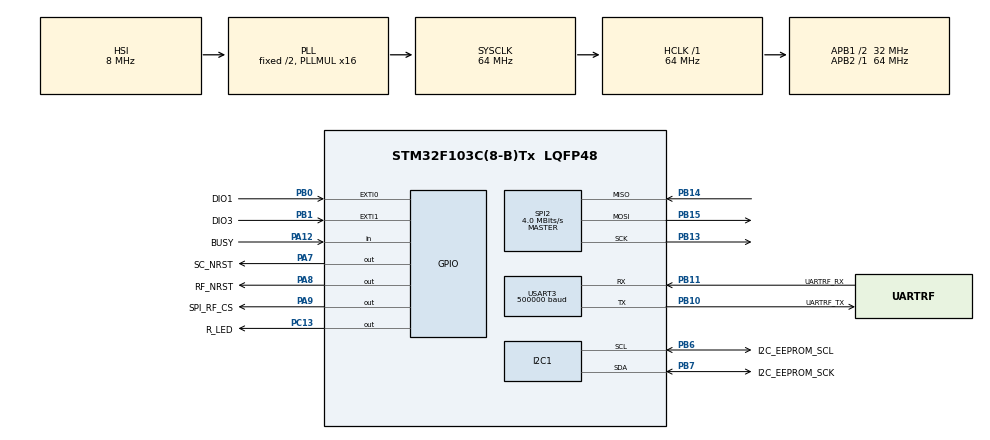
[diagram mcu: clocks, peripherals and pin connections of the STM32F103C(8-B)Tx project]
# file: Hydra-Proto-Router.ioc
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Dma.Request0=USART3_RX
Dma.Request1=USART3_TX
Dma.Request2=SPI2_TX
Dma.Request3=SPI2_RX
Dma.SPI2_RX.3.Direction=DMA_PERIPH_TO_MEMORY
Dma.SPI2_RX.3.Instance=DMA1_Channel4
Dma.SPI2_RX.3.MemDataAlignment=DMA_MDATAALIGN_BYTE
Dma.SPI2_RX.3.MemInc=DMA_MINC_ENABLE
Dma.SPI2_RX.3.Mode=DMA_NORMAL
Dma.SPI2_RX.3.PeriphDataAlignment=DMA_PDATAALIGN_BYTE
Dma.SPI2_RX.3.PeriphInc=DMA_PINC_DISABLE
Dma.SPI2_RX.3.Priority=DMA_PRIORITY_LOW
Dma.SPI2_TX.2.Direction=DMA_MEMORY_TO_PERIPH
Dma.SPI2_TX.2.Instance=DMA1_Channel5
Dma.SPI2_TX.2.MemDataAlignment=DMA_MDATAALIGN_BYTE
Dma.SPI2_TX.2.MemInc=DMA_MINC_ENABLE
Dma.SPI2_TX.2.Mode=DMA_NORMAL
Dma.SPI2_TX.2.PeriphDataAlignment=DMA_PDATAALIGN_BYTE
Dma.SPI2_TX.2.PeriphInc=DMA_PINC_DISABLE
Dma.SPI2_TX.2.Priority=DMA_PRIORITY_LOW
Dma.USART3_RX.0.Direction=DMA_PERIPH_TO_MEMORY
Dma.USART3_RX.0.Instance=DMA1_Channel3
Dma.USART3_RX.0.MemDataAlignment=DMA_MDATAALIGN_BYTE
Dma.USART3_RX.0.MemInc=DMA_MINC_ENABLE
Dma.USART3_RX.0.Mode=DMA_CIRCULAR
Dma.USART3_RX.0.PeriphDataAlignment=DMA_PDATAALIGN_BYTE
Dma.USART3_RX.0.PeriphInc=DMA_PINC_DISABLE
Dma.USART3_RX.0.Priority=DMA_PRIORITY_LOW
Dma.USART3_TX.1.Direction=DMA_MEMORY_TO_PERIPH
Dma.USART3_TX.1.Instance=DMA1_Channel2
Dma.USART3_TX.1.MemDataAlignment=DMA_MDATAALIGN_BYTE
Dma.USART3_TX.1.MemInc=DMA_MINC_ENABLE
Dma.USART3_TX.1.Mode=DMA_NORMAL
Dma.USART3_TX.1.PeriphDataAlignment=DMA_PDATAALIGN_BYTE
Dma.USART3_TX.1.PeriphInc=DMA_PINC_DISABLE
Dma.USART3_TX.1.Priority=DMA_PRIORITY_LOW
Mcu.Family=STM32F1
Mcu.Name=STM32F103C(8-B)Tx
Mcu.Package=LQFP48
NVIC.DMA1_Channel2_IRQn=true\:0\:0\:false\:false\:true\:false\:true\:true
NVIC.DMA1_Channel3_IRQn=true\:0\:0\:false\:false\:true\:false\:true\:true
NVIC.DMA1_Channel4_IRQn=true\:0\:0\:false\:false\:true\:false\:true\:true
NVIC.DMA1_Channel5_IRQn=true\:0\:0\:false\:false\:true\:false\:true\:true
NVIC.EXTI0_IRQn=true\:0\:0\:false\:false\:true\:true\:true\:true
NVIC.PriorityGroup=NVIC_PRIORITYGROUP_4
NVIC.USART3_IRQn=true\:1\:0\:true\:false\:true\:true\:true\:true
PA12.GPIO_Label=BUSY
PA12.Signal=GPIO_Input
PA13.Mode=Serial_Wire
PA13.Signal=SYS_JTMS-SWDIO
PA14.Mode=Serial_Wire
PA14.Signal=SYS_JTCK-SWCLK
PA7.GPIO_Label=SC_NRST
PA7.Signal=GPIO_Output
PA8.GPIO_Label=RF_NRST
PA8.GPIO_PuPd=GPIO_PULLUP
PA8.Signal=GPIO_Output
PA9.GPIO_Label=SPI_RF_CS
PA9.GPIO_PuPd=GPIO_PULLUP
PA9.Signal=GPIO_Output
PB0.GPIO_Label=DIO1
PB0.GPIO_PuPd=GPIO_PULLDOWN
PB0.Signal=GPXTI0
PB1.GPIO_Label=DIO3
PB1.GPIO_PuPd=GPIO_PULLDOWN
PB1.Signal=GPXTI1
PB10.GPIO_Label=UARTRF_TX
PB10.Mode=Asynchronous
PB10.Signal=USART3_TX
PB11.GPIO_Label=UARTRF_RX
PB11.Mode=Asynchronous
PB11.Signal=USART3_RX
PB13.Mode=Full_Duplex_Master
PB13.Signal=SPI2_SCK
PB14.GPIO_PuPd=GPIO_PULLDOWN
PB14.Mode=Full_Duplex_Master
PB14.Signal=SPI2_MISO
PB15.Mode=Full_Duplex_Master
PB15.Signal=SPI2_MOSI
PB6.GPIO_Label=I2C_EEPROM_SCL
PB6.Mode=I2C
PB6.Signal=I2C1_SCL
PB7.GPIO_Label=I2C_EEPROM_SCK
PB7.Mode=I2C
PB7.Signal=I2C1_SDA
PC13-TAMPER-RTC.GPIO_Label=R_LED
PC13-TAMPER-RTC.Signal=GPIO_Output
ProjectManager.HeapSize=0x200
ProjectManager.StackSize=0x400
ProjectManager.TargetToolchain=STM32CubeIDE
RCC.AHBFreq_Value=64000000
RCC.APB1CLKDivider=RCC_HCLK_DIV2
RCC.APB1Freq_Value=32000000
RCC.APB1TimFreq_Value=64000000
RCC.APB2Freq_Value=64000000
RCC.APB2TimFreq_Value=64000000
RCC.HCLKFreq_Value=64000000
RCC.PLLMUL=RCC_PLL_MUL16
RCC.SYSCLKFreq_VALUE=64000000
RCC.SYSCLKSource=RCC_SYSCLKSOURCE_PLLCLK
RCC.USBFreq_Value=64000000
SPI2.BaudRatePrescaler=SPI_BAUDRATEPRESCALER_8
SPI2.CLKPhase=SPI_PHASE_1EDGE
SPI2.CalculateBaudRate=4.0 MBits/s
SPI2.Direction=SPI_DIRECTION_2LINES
SPI2.Mode=SPI_MODE_MASTER
SPI2.VirtualType=VM_MASTER
TIM2.Prescaler=63
TIM2.TIM_MasterOutputTrigger=TIM_TRGO_UPDATE
USART3.BaudRate=500000
USART3.VirtualMode=VM_ASYNC
VP_TIM2_VS_ClockSourceINT.Mode=Internal
VP_TIM3_VS_ClockSourceITR.Mode=TriggerSource_ITR1
VP_TIM3_VS_ControllerModeClock.Mode=Clock Mode
board=custom

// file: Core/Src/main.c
/* USER CODE BEGIN Header */
/**
  ******************************************************************************
  * @file           : main.c
  * @brief          : Main program body
  ******************************************************************************
  * @attention
  *
  * Copyright (c) 2026 STMicroelectronics.
  * All rights reserved.
  *
  * This software is licensed under terms that can be found in the LICENSE file
  * in the root directory of this software component.
  * If no LICENSE file comes with this software, it is provided AS-IS.
  *
  ******************************************************************************
  */
/* USER CODE END Header */
#include "main.h"

/* USER CODE BEGIN Includes */
#include "uart_wrapper_stream.h"
#include "sx1268-driver.h"
/* USER CODE END Includes */

/* USER CODE BEGIN PD */

#define PCKT_SIZE_U32 1
#define PCKT_COUNT 1024
#define U32_SIZE 4

/* USER CODE END PD */

I2C_HandleTypeDef hi2c1;

SPI_HandleTypeDef hspi2;
DMA_HandleTypeDef hdma_spi2_tx;
DMA_HandleTypeDef hdma_spi2_rx;

TIM_HandleTypeDef htim2;
TIM_HandleTypeDef htim3;

UART_HandleTypeDef huart3;
DMA_HandleTypeDef hdma_usart3_rx;
DMA_HandleTypeDef hdma_usart3_tx;

/* USER CODE BEGIN PV */
wUART wuart3;
SX1268 radio;
/* USER CODE END PV */

void SystemClock_Config(void);
static void MX_GPIO_Init(void);
static void MX_DMA_Init(void);
static void MX_I2C1_Init(void);
static void MX_USART3_UART_Init(void);
static void MX_SPI2_Init(void);
static void MX_TIM2_Init(void);
static void MX_TIM3_Init(void);
/* USER CODE BEGIN PFP */

uint32_t Get_us_Tickval(void)
{
    uint16_t high1, high2, low;

    do {
        high1 = htim3.Instance->CNT;
        low   = htim2.Instance->CNT;
        high2 = htim3.Instance->CNT;
    } while (high1 != high2);

    return ((uint32_t)high1 << 16) | low;
}

/* USER CODE END PFP */

int main(void)
{

  /* MCU Configuration--------------------------------------------------------*/

  /* Reset of all peripherals, Initializes the Flash interface and the Systick. */
  HAL_Init();

  /* Configure the system clock */
  SystemClock_Config();

  /* Initialize all configured peripherals */
  MX_GPIO_Init();
  MX_DMA_Init();
  MX_I2C1_Init();
  MX_USART3_UART_Init();
  MX_SPI2_Init();
  MX_TIM2_Init();
  MX_TIM3_Init();
  /* USER CODE BEGIN 2 */

  GPIO_t cs_gpio = {
      ._pin = GPIO_PIN_9,
      ._port = GPIOA
  };

  GPIO_t bind_gpio = {
      ._pin = GPIO_PIN_12,
      ._port = GPIOA
  };

  GPIO_t res_gpio = {
      ._pin = GPIO_PIN_8,
      ._port = GPIOA
  };

  GPIO_t dio1_gpio = {
      ._pin = GPIO_PIN_0,
      ._port = GPIOB
  };

  wUART_Init(&wuart3, &huart3);

  SX68_Init(&radio, &hspi2, cs_gpio, res_gpio, bind_gpio);

  SX68_SetStandby(&radio, MODE_STDBY_RC);

  SX68_SetDIO2RFSwitch(&radio, 1);
  SX68_SetIRQMask(&radio, 0x0201, 0x0000, 0x0000);
  SX68_SetDIOxGPIO(&radio, DIO1, dio1_gpio);

  SX68_SetOPType(&radio, TYPE_LoRa);
  SX68_ConfigRF(&radio, 433000000, PA_DC_4, PA_HPmax_6);
  SX68_LoRa_ModConfig(&radio, LoRa_SF7, LoRa_BW_250, LoRa_CR_4_5);
  SX68_SetBufferBase(&radio, 0, 0);
  SX68_LoRa_Params(&radio, 8, LoRa_VariableLenHeader, LoRa_CRC_OFF, LoRa_IQ_Standard);
  SX68_SetTXParameters(&radio, -9, RAMP_200U);

  SX68_ClearIRQStatus(&radio);

  wUART_OpenRXDMA(&wuart3);

  uint8_t num_buf[PCKT_SIZE_U32 * U32_SIZE];
  uint32_t num = 0;
  uint32_t num_rec;
  uint32_t errs = 0;
  static uint32_t trans_timestamp[PCKT_COUNT];
  static uint32_t err_timestamp[PCKT_COUNT];
  uint32_t in_trans = 0;
  uint32_t in_err = 0;

  memset(trans_timestamp, 0, PCKT_COUNT * U32_SIZE);
  memset(err_timestamp, 0, PCKT_COUNT * U32_SIZE);

  HAL_TIM_Base_Start(&htim3);
  HAL_TIM_Base_Start(&htim2);

  /* USER CODE END 2 */

  /* Infinite loop */
  /* USER CODE BEGIN WHILE */
  while (1)
  {
      while(FIFO_GetCount(&wuart3._rx_fifo) < (PCKT_SIZE_U32 * U32_SIZE))
	{
	  __NOP();
	}

      HAL_GPIO_TogglePin(R_LED_GPIO_Port, R_LED_Pin);

      uint32_t us_tick = Get_us_Tickval();

      wUART_ReadRXFIFO(&wuart3, num_buf, PCKT_SIZE_U32 * U32_SIZE);

      memcpy(&num_rec, num_buf, U32_SIZE);

      if(num_rec == 0xFFFFFFFF) break;

      SX68_WriteTXPacket(&radio, num_buf, PCKT_SIZE_U32 * U32_SIZE);

      SX68_LoRa_PayloadLength(&radio, PCKT_SIZE_U32 * U32_SIZE);

      SX68_Transmit(&radio, 0);

      while(SX68_GetDIOStatus(&radio, DIO1) != 1)
	{
	  __NOP();
	}

      SX68_ClearDIOStatus(&radio, DIO1);
      SX68_ClearIRQStatus(&radio);

      if(num_rec != num)
	{
	  errs += (num_rec - num);
	  err_timestamp[in_err] = us_tick;
	  in_err++;
	}

      num = num_rec + 1;
      trans_timestamp[in_trans] = us_tick;
      in_trans++;

      if(in_trans == PCKT_COUNT) break;

    /* USER CODE END WHILE */

    /* USER CODE BEGIN 3 */
  }

  wUART_WriteTX(&wuart3, (uint8_t*)&errs, U32_SIZE);

  for(int i = 0; i < (PCKT_COUNT * U32_SIZE) / 256; i++)
    {
      wUART_WriteTX(&wuart3, (uint8_t*)trans_timestamp + i*256, 256);
      HAL_Delay(250);
    }

  for(int i = 0; i < (PCKT_COUNT * U32_SIZE) / 256; i++)
    {
      wUART_WriteTX(&wuart3, (uint8_t*)err_timestamp + i*256, 256);
      HAL_Delay(250);
    }
  /* USER CODE END 3 */
}

void SystemClock_Config(void)
{
  RCC_OscInitTypeDef RCC_OscInitStruct = {0};
  RCC_ClkInitTypeDef RCC_ClkInitStruct = {0};

  /** Initializes the RCC Oscillators according to the specified parameters
  * in the RCC_OscInitTypeDef structure.
  */
  RCC_OscInitStruct.OscillatorType = RCC_OSCILLATORTYPE_HSI;
  RCC_OscInitStruct.HSIState = RCC_HSI_ON;
  RCC_OscInitStruct.HSICalibrationValue = RCC_HSICALIBRATION_DEFAULT;
  RCC_OscInitStruct.PLL.PLLState = RCC_PLL_ON;
  RCC_OscInitStruct.PLL.PLLSource = RCC_PLLSOURCE_HSI_DIV2;
  RCC_OscInitStruct.PLL.PLLMUL = RCC_PLL_MUL16;
  if (HAL_RCC_OscConfig(&RCC_OscInitStruct) != HAL_OK)
  {
    Error_Handler();
  }

  /** Initializes the CPU, AHB and APB buses clocks
  */
  RCC_ClkInitStruct.ClockType = RCC_CLOCKTYPE_HCLK|RCC_CLOCKTYPE_SYSCLK
                              |RCC_CLOCKTYPE_PCLK1|RCC_CLOCKTYPE_PCLK2;
  RCC_ClkInitStruct.SYSCLKSource = RCC_SYSCLKSOURCE_PLLCLK;
  RCC_ClkInitStruct.AHBCLKDivider = RCC_SYSCLK_DIV1;
  RCC_ClkInitStruct.APB1CLKDivider = RCC_HCLK_DIV2;
  RCC_ClkInitStruct.APB2CLKDivider = RCC_HCLK_DIV1;

  if (HAL_RCC_ClockConfig(&RCC_ClkInitStruct, FLASH_LATENCY_2) != HAL_OK)
  {
    Error_Handler();
  }
}

static void MX_I2C1_Init(void)
{

  hi2c1.Instance = I2C1;
  hi2c1.Init.ClockSpeed = 100000;
  hi2c1.Init.DutyCycle = I2C_DUTYCYCLE_2;
  hi2c1.Init.OwnAddress1 = 0;
  hi2c1.Init.AddressingMode = I2C_ADDRESSINGMODE_7BIT;
  hi2c1.Init.DualAddressMode = I2C_DUALADDRESS_DISABLE;
  hi2c1.Init.OwnAddress2 = 0;
  hi2c1.Init.GeneralCallMode = I2C_GENERALCALL_DISABLE;
  hi2c1.Init.NoStretchMode = I2C_NOSTRETCH_DISABLE;
  if (HAL_I2C_Init(&hi2c1) != HAL_OK)
  {
    Error_Handler();
  }

}

static void MX_SPI2_Init(void)
{

  /* SPI2 parameter configuration*/
  hspi2.Instance = SPI2;
  hspi2.Init.Mode = SPI_MODE_MASTER;
  hspi2.Init.Direction = SPI_DIRECTION_2LINES;
  hspi2.Init.DataSize = SPI_DATASIZE_8BIT;
  hspi2.Init.CLKPolarity = SPI_POLARITY_LOW;
  hspi2.Init.CLKPhase = SPI_PHASE_1EDGE;
  hspi2.Init.NSS = SPI_NSS_SOFT;
  hspi2.Init.BaudRatePrescaler = SPI_BAUDRATEPRESCALER_8;
  hspi2.Init.FirstBit = SPI_FIRSTBIT_MSB;
  hspi2.Init.TIMode = SPI_TIMODE_DISABLE;
  hspi2.Init.CRCCalculation = SPI_CRCCALCULATION_DISABLE;
  hspi2.Init.CRCPolynomial = 10;
  if (HAL_SPI_Init(&hspi2) != HAL_OK)
  {
    Error_Handler();
  }

}

static void MX_TIM2_Init(void)
{

  TIM_ClockConfigTypeDef sClockSourceConfig = {0};
  TIM_MasterConfigTypeDef sMasterConfig = {0};

  htim2.Instance = TIM2;
  htim2.Init.Prescaler = 63;
  htim2.Init.CounterMode = TIM_COUNTERMODE_UP;
  htim2.Init.Period = 65535;
  htim2.Init.ClockDivision = TIM_CLOCKDIVISION_DIV1;
  htim2.Init.AutoReloadPreload = TIM_AUTORELOAD_PRELOAD_DISABLE;
  if (HAL_TIM_Base_Init(&htim2) != HAL_OK)
  {
    Error_Handler();
  }
  sClockSourceConfig.ClockSource = TIM_CLOCKSOURCE_INTERNAL;
  if (HAL_TIM_ConfigClockSource(&htim2, &sClockSourceConfig) != HAL_OK)
  {
    Error_Handler();
  }
  sMasterConfig.MasterOutputTrigger = TIM_TRGO_UPDATE;
  sMasterConfig.MasterSlaveMode = TIM_MASTERSLAVEMODE_DISABLE;
  if (HAL_TIMEx_MasterConfigSynchronization(&htim2, &sMasterConfig) != HAL_OK)
  {
    Error_Handler();
  }

}

static void MX_TIM3_Init(void)
{

  TIM_SlaveConfigTypeDef sSlaveConfig = {0};
  TIM_MasterConfigTypeDef sMasterConfig = {0};

  htim3.Instance = TIM3;
  htim3.Init.Prescaler = 0;
  htim3.Init.CounterMode = TIM_COUNTERMODE_UP;
  htim3.Init.Period = 65535;
  htim3.Init.ClockDivision = TIM_CLOCKDIVISION_DIV1;
  htim3.Init.AutoReloadPreload = TIM_AUTORELOAD_PRELOAD_DISABLE;
  if (HAL_TIM_Base_Init(&htim3) != HAL_OK)
  {
    Error_Handler();
  }
  sSlaveConfig.SlaveMode = TIM_SLAVEMODE_EXTERNAL1;
  sSlaveConfig.InputTrigger = TIM_TS_ITR1;
  if (HAL_TIM_SlaveConfigSynchro(&htim3, &sSlaveConfig) != HAL_OK)
  {
    Error_Handler();
  }
  sMasterConfig.MasterOutputTrigger = TIM_TRGO_RESET;
  sMasterConfig.MasterSlaveMode = TIM_MASTERSLAVEMODE_DISABLE;
  if (HAL_TIMEx_MasterConfigSynchronization(&htim3, &sMasterConfig) != HAL_OK)
  {
    Error_Handler();
  }

}

static void MX_USART3_UART_Init(void)
{

  huart3.Instance = USART3;
  huart3.Init.BaudRate = 500000;
  huart3.Init.WordLength = UART_WORDLENGTH_8B;
  huart3.Init.StopBits = UART_STOPBITS_1;
  huart3.Init.Parity = UART_PARITY_NONE;
  huart3.Init.Mode = UART_MODE_TX_RX;
  huart3.Init.HwFlowCtl = UART_HWCONTROL_NONE;
  huart3.Init.OverSampling = UART_OVERSAMPLING_16;
  if (HAL_UART_Init(&huart3) != HAL_OK)
  {
    Error_Handler();
  }

}

static void MX_DMA_Init(void)
{

  /* DMA controller clock enable */
  __HAL_RCC_DMA1_CLK_ENABLE();

  /* DMA interrupt init */
  /* DMA1_Channel2_IRQn interrupt configuration */
  HAL_NVIC_SetPriority(DMA1_Channel2_IRQn, 0, 0);
  HAL_NVIC_EnableIRQ(DMA1_Channel2_IRQn);
  /* DMA1_Channel3_IRQn interrupt configuration */
  HAL_NVIC_SetPriority(DMA1_Channel3_IRQn, 0, 0);
  HAL_NVIC_EnableIRQ(DMA1_Channel3_IRQn);
  /* DMA1_Channel4_IRQn interrupt configuration */
  HAL_NVIC_SetPriority(DMA1_Channel4_IRQn, 0, 0);
  HAL_NVIC_EnableIRQ(DMA1_Channel4_IRQn);
  /* DMA1_Channel5_IRQn interrupt configuration */
  HAL_NVIC_SetPriority(DMA1_Channel5_IRQn, 0, 0);
  HAL_NVIC_EnableIRQ(DMA1_Channel5_IRQn);

}

static void MX_GPIO_Init(void)
{
  GPIO_InitTypeDef GPIO_InitStruct = {0};

  /* GPIO Ports Clock Enable */
  __HAL_RCC_GPIOC_CLK_ENABLE();
  __HAL_RCC_GPIOA_CLK_ENABLE();
  __HAL_RCC_GPIOB_CLK_ENABLE();

  /*Configure GPIO pin Output Level */
  HAL_GPIO_WritePin(R_LED_GPIO_Port, R_LED_Pin, GPIO_PIN_RESET);

  /*Configure GPIO pin Output Level */
  HAL_GPIO_WritePin(GPIOA, SC_NRST_Pin|RF_NRST_Pin|SPI_RF_CS_Pin, GPIO_PIN_RESET);

  /*Configure GPIO pin : R_LED_Pin */
  GPIO_InitStruct.Pin = R_LED_Pin;
  GPIO_InitStruct.Mode = GPIO_MODE_OUTPUT_PP;
  GPIO_InitStruct.Pull = GPIO_NOPULL;
  GPIO_InitStruct.Speed = GPIO_SPEED_FREQ_LOW;
  HAL_GPIO_Init(R_LED_GPIO_Port, &GPIO_InitStruct);

  /*Configure GPIO pin : SC_NRST_Pin */
  GPIO_InitStruct.Pin = SC_NRST_Pin;
  GPIO_InitStruct.Mode = GPIO_MODE_OUTPUT_PP;
  GPIO_InitStruct.Pull = GPIO_NOPULL;
  GPIO_InitStruct.Speed = GPIO_SPEED_FREQ_LOW;
  HAL_GPIO_Init(SC_NRST_GPIO_Port, &GPIO_InitStruct);

  /*Configure GPIO pins : DIO1_Pin DIO3_Pin */
  GPIO_InitStruct.Pin = DIO1_Pin|DIO3_Pin;
  GPIO_InitStruct.Mode = GPIO_MODE_IT_RISING;
  GPIO_InitStruct.Pull = GPIO_PULLDOWN;
  HAL_GPIO_Init(GPIOB, &GPIO_InitStruct);

  /*Configure GPIO pins : RF_NRST_Pin SPI_RF_CS_Pin */
  GPIO_InitStruct.Pin = RF_NRST_Pin|SPI_RF_CS_Pin;
  GPIO_InitStruct.Mode = GPIO_MODE_OUTPUT_PP;
  GPIO_InitStruct.Pull = GPIO_PULLUP;
  GPIO_InitStruct.Speed = GPIO_SPEED_FREQ_LOW;
  HAL_GPIO_Init(GPIOA, &GPIO_InitStruct);

  /*Configure GPIO pin : BUSY_Pin */
  GPIO_InitStruct.Pin = BUSY_Pin;
  GPIO_InitStruct.Mode = GPIO_MODE_INPUT;
  GPIO_InitStruct.Pull = GPIO_NOPULL;
  HAL_GPIO_Init(BUSY_GPIO_Port, &GPIO_InitStruct);

  /* EXTI interrupt init*/
  HAL_NVIC_SetPriority(EXTI0_IRQn, 0, 0);
  HAL_NVIC_EnableIRQ(EXTI0_IRQn);

}

void Error_Handler(void)
{
  __disable_irq();
  while (1)
  {
  }
}
